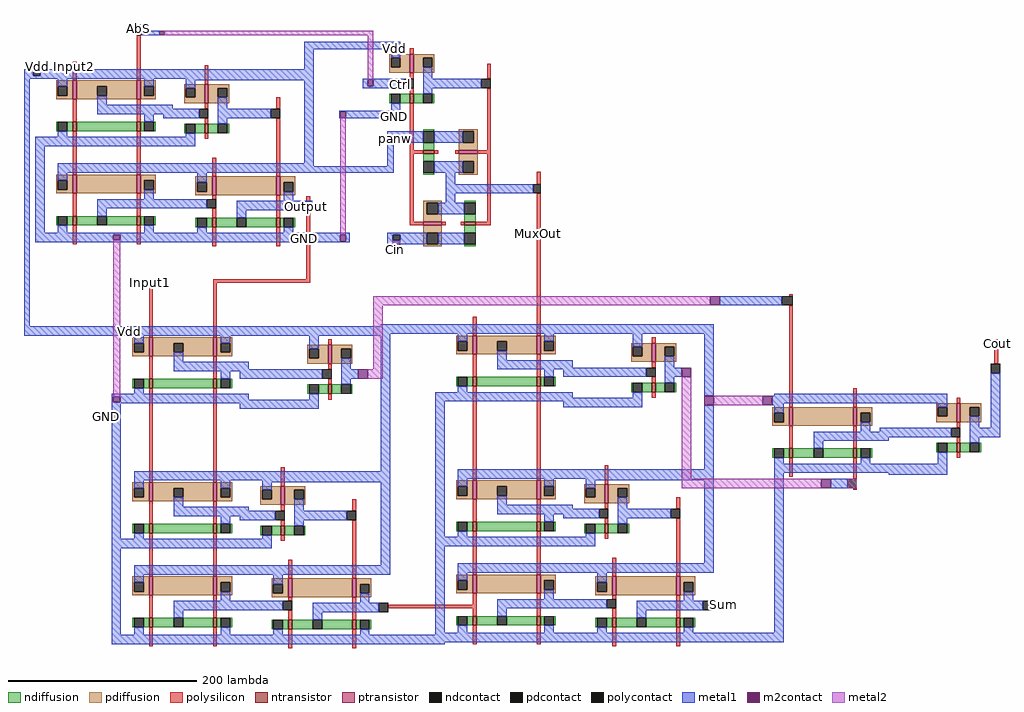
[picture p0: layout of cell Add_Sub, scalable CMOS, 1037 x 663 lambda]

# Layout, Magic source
magic
tech scmos
<< polysilicon >>
rect 122 1013 126 1020
rect 12 970 19 979
rect 54 960 58 980
rect 122 960 126 1008
rect 412 988 416 994
rect 194 956 198 976
rect 412 962 416 968
rect 494 962 498 978
rect 54 916 58 940
rect 122 916 126 940
rect 412 946 416 952
rect 194 930 198 936
rect 270 930 274 942
rect 194 914 198 920
rect 54 860 58 906
rect 122 860 126 906
rect 194 898 198 904
rect 202 858 206 878
rect 270 858 274 920
rect 412 886 416 936
rect 494 886 498 952
rect 412 882 426 886
rect 438 882 442 886
rect 460 882 464 886
rect 484 882 498 886
rect 54 816 58 840
rect 122 816 126 840
rect 202 834 206 838
rect 202 814 206 824
rect 270 814 274 838
rect 302 831 306 837
rect 54 786 58 806
rect 122 786 126 806
rect 202 784 206 804
rect 270 784 274 804
rect 302 749 306 824
rect 412 810 416 882
rect 494 810 498 882
rect 547 850 551 863
rect 412 806 426 810
rect 446 806 450 810
rect 466 806 470 810
rect 482 806 498 810
rect 394 777 402 790
rect 135 687 139 749
rect 203 745 306 749
rect 203 687 207 745
rect 479 689 483 709
rect 547 689 551 840
rect 815 731 819 733
rect 325 679 329 685
rect 135 643 139 667
rect 203 643 207 667
rect 669 681 673 687
rect 325 653 329 659
rect 479 645 483 669
rect 547 645 551 669
rect 669 655 673 661
rect 325 637 329 643
rect 88 600 96 606
rect 135 533 139 633
rect 203 533 207 633
rect 669 639 673 645
rect 325 621 329 627
rect 275 529 279 549
rect 479 535 483 635
rect 547 535 551 635
rect 669 623 673 629
rect 815 613 819 721
rect 1033 659 1037 685
rect 883 613 887 633
rect 993 617 997 623
rect 815 569 819 593
rect 883 569 887 593
rect 993 591 997 597
rect 993 575 997 581
rect 993 559 997 565
rect 135 489 139 513
rect 203 489 207 513
rect 619 531 623 551
rect 815 539 819 559
rect 883 537 887 559
rect 275 503 279 509
rect 351 503 355 515
rect 275 487 279 493
rect 135 433 139 479
rect 203 433 207 479
rect 275 471 279 477
rect 283 431 287 451
rect 351 431 355 493
rect 479 491 483 515
rect 547 491 551 515
rect 883 525 887 527
rect 619 505 623 511
rect 695 505 699 517
rect 619 489 623 495
rect 479 435 483 481
rect 547 435 551 481
rect 619 473 623 479
rect 135 389 139 413
rect 203 389 207 413
rect 627 433 631 453
rect 695 433 699 495
rect 283 407 287 411
rect 283 387 287 397
rect 351 387 355 411
rect 479 403 483 415
rect 389 399 483 403
rect 479 391 483 399
rect 547 391 551 415
rect 627 409 631 413
rect 135 359 139 379
rect 203 359 207 379
rect 627 389 631 399
rect 695 389 699 413
rect 733 401 747 405
rect 283 357 287 377
rect 351 357 355 377
rect 479 361 483 381
rect 547 361 551 381
rect 627 359 631 379
rect 695 359 699 379
<< ndiffusion >>
rect 390 936 392 946
rect 402 936 412 946
rect 416 936 426 946
rect 436 936 438 946
rect 36 906 38 916
rect 48 906 54 916
rect 58 906 122 916
rect 126 906 130 916
rect 140 906 142 916
rect 172 904 174 914
rect 184 904 194 914
rect 198 904 208 914
rect 218 904 220 914
rect 426 906 438 908
rect 426 886 438 894
rect 36 806 38 816
rect 48 806 54 816
rect 58 806 80 816
rect 90 806 122 816
rect 126 806 130 816
rect 140 806 142 816
rect 184 804 186 814
rect 196 804 202 814
rect 206 804 228 814
rect 238 804 270 814
rect 274 804 278 814
rect 288 804 290 814
rect 426 874 438 882
rect 426 860 438 862
rect 470 830 482 832
rect 470 810 482 818
rect 470 798 482 806
rect 470 784 482 786
rect 117 633 119 643
rect 129 633 135 643
rect 139 633 203 643
rect 207 633 211 643
rect 221 633 223 643
rect 303 627 305 637
rect 315 627 325 637
rect 329 627 339 637
rect 349 627 351 637
rect 461 635 463 645
rect 473 635 479 645
rect 483 635 547 645
rect 551 635 555 645
rect 565 635 567 645
rect 647 629 649 639
rect 659 629 669 639
rect 673 629 683 639
rect 693 629 695 639
rect 797 559 799 569
rect 809 559 815 569
rect 819 559 841 569
rect 851 559 883 569
rect 887 559 891 569
rect 901 559 903 569
rect 971 565 973 575
rect 983 565 993 575
rect 997 565 1007 575
rect 1017 565 1019 575
rect 117 479 119 489
rect 129 479 135 489
rect 139 479 203 489
rect 207 479 211 489
rect 221 479 223 489
rect 253 477 255 487
rect 265 477 275 487
rect 279 477 289 487
rect 299 477 301 487
rect 461 481 463 491
rect 473 481 479 491
rect 483 481 547 491
rect 551 481 555 491
rect 565 481 567 491
rect 597 479 599 489
rect 609 479 619 489
rect 623 479 633 489
rect 643 479 645 489
rect 117 379 119 389
rect 129 379 135 389
rect 139 379 161 389
rect 171 379 203 389
rect 207 379 211 389
rect 221 379 223 389
rect 265 377 267 387
rect 277 377 283 387
rect 287 377 309 387
rect 319 377 351 387
rect 355 377 359 387
rect 369 377 371 387
rect 461 381 463 391
rect 473 381 479 391
rect 483 381 505 391
rect 515 381 547 391
rect 551 381 555 391
rect 565 381 567 391
rect 609 379 611 389
rect 621 379 627 389
rect 631 379 653 389
rect 663 379 695 389
rect 699 379 703 389
rect 713 379 715 389
<< pdiffusion >>
rect 390 984 412 988
rect 36 954 54 960
rect 36 944 38 954
rect 48 944 54 954
rect 36 940 54 944
rect 58 954 122 960
rect 58 944 80 954
rect 90 944 122 954
rect 58 940 122 944
rect 126 954 142 960
rect 390 974 392 984
rect 402 974 412 984
rect 390 968 412 974
rect 416 984 438 988
rect 416 974 426 984
rect 436 974 438 984
rect 416 968 438 974
rect 126 944 130 954
rect 140 944 142 954
rect 126 940 142 944
rect 172 952 194 956
rect 172 942 174 952
rect 184 942 194 952
rect 172 936 194 942
rect 198 952 220 956
rect 198 942 208 952
rect 218 942 220 952
rect 198 936 220 942
rect 36 854 54 860
rect 36 844 38 854
rect 48 844 54 854
rect 36 840 54 844
rect 58 840 122 860
rect 126 854 142 860
rect 464 906 484 908
rect 464 894 468 906
rect 480 894 484 906
rect 464 886 484 894
rect 126 844 130 854
rect 140 844 142 854
rect 126 840 142 844
rect 184 852 202 858
rect 184 842 186 852
rect 196 842 202 852
rect 184 838 202 842
rect 206 838 270 858
rect 274 852 290 858
rect 274 842 278 852
rect 288 842 290 852
rect 274 838 290 842
rect 464 874 484 882
rect 464 862 468 874
rect 480 862 484 874
rect 464 860 484 862
rect 426 830 446 832
rect 426 818 430 830
rect 442 818 446 830
rect 426 810 446 818
rect 426 798 446 806
rect 426 786 430 798
rect 442 786 446 798
rect 426 784 446 786
rect 117 681 135 687
rect 117 671 119 681
rect 129 671 135 681
rect 117 667 135 671
rect 139 681 203 687
rect 139 671 161 681
rect 171 671 203 681
rect 139 667 203 671
rect 207 681 223 687
rect 207 671 211 681
rect 221 671 223 681
rect 461 683 479 689
rect 207 667 223 671
rect 303 675 325 679
rect 303 665 305 675
rect 315 665 325 675
rect 303 659 325 665
rect 329 675 351 679
rect 329 665 339 675
rect 349 665 351 675
rect 461 673 463 683
rect 473 673 479 683
rect 461 669 479 673
rect 483 683 547 689
rect 483 673 505 683
rect 515 673 547 683
rect 483 669 547 673
rect 551 683 567 689
rect 551 673 555 683
rect 565 673 567 683
rect 551 669 567 673
rect 647 677 669 681
rect 329 659 351 665
rect 647 667 649 677
rect 659 667 669 677
rect 647 661 669 667
rect 673 677 695 681
rect 673 667 683 677
rect 693 667 695 677
rect 673 661 695 667
rect 117 527 135 533
rect 117 517 119 527
rect 129 517 135 527
rect 117 513 135 517
rect 139 527 203 533
rect 139 517 161 527
rect 171 517 203 527
rect 139 513 203 517
rect 207 527 223 533
rect 971 613 993 617
rect 797 607 815 613
rect 797 597 799 607
rect 809 597 815 607
rect 797 593 815 597
rect 819 593 883 613
rect 887 607 903 613
rect 887 597 891 607
rect 901 597 903 607
rect 971 603 973 613
rect 983 603 993 613
rect 971 597 993 603
rect 997 613 1019 617
rect 997 603 1007 613
rect 1017 603 1019 613
rect 997 597 1019 603
rect 887 593 903 597
rect 461 529 479 535
rect 207 517 211 527
rect 221 517 223 527
rect 207 513 223 517
rect 253 525 275 529
rect 253 515 255 525
rect 265 515 275 525
rect 253 509 275 515
rect 279 525 301 529
rect 279 515 289 525
rect 299 515 301 525
rect 461 519 463 529
rect 473 519 479 529
rect 461 515 479 519
rect 483 529 547 535
rect 483 519 505 529
rect 515 519 547 529
rect 483 515 547 519
rect 551 529 567 535
rect 551 519 555 529
rect 565 519 567 529
rect 551 515 567 519
rect 597 527 619 531
rect 597 517 599 527
rect 609 517 619 527
rect 279 509 301 515
rect 117 427 135 433
rect 117 417 119 427
rect 129 417 135 427
rect 117 413 135 417
rect 139 413 203 433
rect 207 427 223 433
rect 597 511 619 517
rect 623 527 645 531
rect 623 517 633 527
rect 643 517 645 527
rect 623 511 645 517
rect 207 417 211 427
rect 221 417 223 427
rect 207 413 223 417
rect 265 425 283 431
rect 265 415 267 425
rect 277 415 283 425
rect 265 411 283 415
rect 287 411 351 431
rect 355 425 371 431
rect 355 415 359 425
rect 369 415 371 425
rect 461 429 479 435
rect 461 419 463 429
rect 473 419 479 429
rect 461 415 479 419
rect 483 415 547 435
rect 551 429 567 435
rect 551 419 555 429
rect 565 419 567 429
rect 551 415 567 419
rect 609 427 627 433
rect 609 417 611 427
rect 621 417 627 427
rect 355 411 371 415
rect 609 413 627 417
rect 631 413 695 433
rect 699 427 715 433
rect 699 417 703 427
rect 713 417 715 427
rect 699 413 715 417
<< metal1 >>
rect 127 1008 146 1013
rect 300 993 402 1001
rect 300 972 310 993
rect 392 984 402 993
rect 2 970 310 972
rect 2 965 12 970
rect 19 965 310 970
rect 2 962 310 965
rect 426 962 436 974
rect 2 699 8 962
rect 38 954 48 962
rect 130 954 140 962
rect 174 960 310 962
rect 174 952 184 960
rect 80 934 90 944
rect 80 930 160 934
rect 208 930 218 942
rect 80 924 188 930
rect 130 916 140 924
rect 150 920 188 924
rect 208 920 264 930
rect 208 914 218 920
rect 38 900 48 906
rect 174 900 184 904
rect 14 890 184 900
rect 14 798 24 890
rect 300 872 310 960
rect 362 961 406 962
rect 362 954 367 961
rect 373 954 406 961
rect 362 952 406 954
rect 426 952 488 962
rect 426 946 436 952
rect 392 928 402 936
rect 337 927 402 928
rect 337 921 338 927
rect 344 921 402 927
rect 337 920 402 921
rect 38 869 310 872
rect 388 894 426 906
rect 438 894 468 906
rect 388 869 395 894
rect 38 862 395 869
rect 438 862 468 874
rect 38 854 48 862
rect 130 834 140 844
rect 186 852 196 862
rect 80 824 196 834
rect 278 832 288 842
rect 450 850 460 862
rect 450 840 543 850
rect 228 831 308 832
rect 228 824 300 831
rect 307 824 308 831
rect 450 830 460 840
rect 80 816 90 824
rect 228 822 308 824
rect 228 814 238 822
rect 442 818 470 830
rect 38 798 48 806
rect 130 798 140 806
rect 186 798 196 804
rect 278 798 288 804
rect 14 796 348 798
rect 14 791 97 796
rect 104 791 338 796
rect 14 789 338 791
rect 344 789 348 796
rect 14 788 348 789
rect 388 796 430 798
rect 388 790 394 796
rect 402 790 430 796
rect 388 786 430 790
rect 442 786 470 798
rect 741 721 807 731
rect 381 699 735 701
rect 2 691 735 699
rect 2 689 391 691
rect 119 681 129 689
rect 211 681 221 689
rect 305 675 315 689
rect 161 661 171 671
rect 161 653 241 661
rect 339 653 349 665
rect 161 651 319 653
rect 211 643 221 651
rect 231 643 319 651
rect 339 643 357 653
rect 339 637 349 643
rect 119 627 129 633
rect 95 624 241 627
rect 95 618 97 624
rect 104 621 241 624
rect 305 621 315 627
rect 104 618 315 621
rect 95 617 315 618
rect 95 606 105 617
rect 231 611 315 617
rect 95 600 96 606
rect 103 600 105 606
rect 95 473 105 600
rect 381 545 391 689
rect 463 683 473 691
rect 555 683 565 691
rect 649 677 659 691
rect 505 663 515 673
rect 505 655 585 663
rect 683 655 693 667
rect 505 653 663 655
rect 555 645 565 653
rect 575 645 663 653
rect 683 645 701 655
rect 683 639 693 645
rect 463 629 473 635
rect 119 535 391 545
rect 119 527 129 535
rect 211 527 221 535
rect 255 533 391 535
rect 255 525 265 533
rect 161 507 171 517
rect 161 503 241 507
rect 289 503 299 515
rect 161 497 269 503
rect 211 489 221 497
rect 231 493 269 497
rect 289 493 345 503
rect 289 487 299 493
rect 119 473 129 479
rect 255 473 265 477
rect 95 463 265 473
rect 95 371 105 463
rect 381 445 391 533
rect 119 435 391 445
rect 439 623 585 629
rect 649 623 659 629
rect 439 619 659 623
rect 439 475 449 619
rect 575 613 659 619
rect 725 625 735 691
rect 799 625 983 627
rect 797 617 983 625
rect 797 615 809 617
rect 725 547 735 615
rect 799 607 809 615
rect 973 613 983 617
rect 891 587 901 597
rect 1007 591 1017 603
rect 1029 591 1039 649
rect 911 587 987 591
rect 841 581 987 587
rect 1007 581 1039 591
rect 841 577 921 581
rect 841 569 851 577
rect 1007 575 1017 581
rect 463 537 735 547
rect 463 529 473 537
rect 555 529 565 537
rect 599 535 735 537
rect 599 527 609 535
rect 505 509 515 519
rect 505 505 585 509
rect 633 505 643 517
rect 505 499 613 505
rect 555 491 565 499
rect 575 495 613 499
rect 633 495 689 505
rect 633 489 643 495
rect 463 475 473 481
rect 599 475 609 479
rect 439 465 609 475
rect 119 427 129 435
rect 211 407 221 417
rect 267 425 277 435
rect 161 397 277 407
rect 359 405 369 415
rect 161 389 171 397
rect 309 395 379 405
rect 309 387 319 395
rect 119 371 129 379
rect 211 371 221 379
rect 267 371 277 377
rect 359 371 369 377
rect 439 373 449 465
rect 725 447 735 535
rect 463 437 735 447
rect 799 553 809 559
rect 891 553 901 559
rect 973 553 983 565
rect 799 543 983 553
rect 463 429 473 437
rect 555 409 565 419
rect 611 427 621 437
rect 505 399 621 409
rect 703 407 713 417
rect 505 391 515 399
rect 653 397 723 407
rect 653 389 663 397
rect 463 373 473 381
rect 555 373 565 381
rect 611 373 621 379
rect 703 373 713 379
rect 799 373 809 543
rect 921 541 983 543
rect 859 527 877 537
rect 439 371 809 373
rect 95 363 809 371
rect 95 361 449 363
<< metal2 >>
rect 151 1008 373 1013
rect 367 961 373 1008
rect 338 796 344 921
rect 97 624 104 791
rect 373 721 731 731
rect 373 653 383 721
rect 367 643 383 653
rect 701 537 711 645
rect 735 615 787 625
rect 701 527 849 537
rect 877 527 887 537
<< ntransistor >>
rect 412 936 416 946
rect 54 906 58 916
rect 122 906 126 916
rect 194 904 198 914
rect 426 882 438 886
rect 54 806 58 816
rect 122 806 126 816
rect 202 804 206 814
rect 270 804 274 814
rect 470 806 482 810
rect 135 633 139 643
rect 203 633 207 643
rect 325 627 329 637
rect 479 635 483 645
rect 547 635 551 645
rect 669 629 673 639
rect 815 559 819 569
rect 883 559 887 569
rect 993 565 997 575
rect 135 479 139 489
rect 203 479 207 489
rect 275 477 279 487
rect 479 481 483 491
rect 547 481 551 491
rect 619 479 623 489
rect 135 379 139 389
rect 203 379 207 389
rect 283 377 287 387
rect 351 377 355 387
rect 479 381 483 391
rect 547 381 551 391
rect 627 379 631 389
rect 695 379 699 389
<< ptransistor >>
rect 54 940 58 960
rect 122 940 126 960
rect 412 968 416 988
rect 194 936 198 956
rect 54 840 58 860
rect 122 840 126 860
rect 464 882 484 886
rect 202 838 206 858
rect 270 838 274 858
rect 426 806 446 810
rect 135 667 139 687
rect 203 667 207 687
rect 325 659 329 679
rect 479 669 483 689
rect 547 669 551 689
rect 669 661 673 681
rect 135 513 139 533
rect 203 513 207 533
rect 815 593 819 613
rect 883 593 887 613
rect 993 597 997 617
rect 275 509 279 529
rect 479 515 483 535
rect 547 515 551 535
rect 135 413 139 433
rect 203 413 207 433
rect 619 511 623 531
rect 283 411 287 431
rect 351 411 355 431
rect 479 415 483 435
rect 547 415 551 435
rect 627 413 631 433
rect 695 413 699 433
<< polycontact >>
rect 122 1008 127 1013
rect 12 965 19 970
rect 406 952 416 962
rect 488 952 498 962
rect 188 920 198 930
rect 264 920 274 930
rect 196 824 206 834
rect 300 824 307 831
rect 543 840 551 850
rect 394 790 402 796
rect 807 721 819 731
rect 319 643 329 653
rect 663 645 673 655
rect 96 600 103 606
rect 1029 649 1039 659
rect 987 581 997 591
rect 269 493 279 503
rect 345 493 355 503
rect 877 527 887 537
rect 613 495 623 505
rect 689 495 699 505
rect 277 397 287 407
rect 379 395 389 405
rect 621 399 631 409
rect 723 397 733 407
<< ndcontact >>
rect 392 936 402 946
rect 426 936 436 946
rect 38 906 48 916
rect 130 906 140 916
rect 174 904 184 914
rect 208 904 218 914
rect 426 894 438 906
rect 38 806 48 816
rect 80 806 90 816
rect 130 806 140 816
rect 186 804 196 814
rect 228 804 238 814
rect 278 804 288 814
rect 426 862 438 874
rect 470 818 482 830
rect 470 786 482 798
rect 119 633 129 643
rect 211 633 221 643
rect 305 627 315 637
rect 339 627 349 637
rect 463 635 473 645
rect 555 635 565 645
rect 649 629 659 639
rect 683 629 693 639
rect 799 559 809 569
rect 841 559 851 569
rect 891 559 901 569
rect 973 565 983 575
rect 1007 565 1017 575
rect 119 479 129 489
rect 211 479 221 489
rect 255 477 265 487
rect 289 477 299 487
rect 463 481 473 491
rect 555 481 565 491
rect 599 479 609 489
rect 633 479 643 489
rect 119 379 129 389
rect 161 379 171 389
rect 211 379 221 389
rect 267 377 277 387
rect 309 377 319 387
rect 359 377 369 387
rect 463 381 473 391
rect 505 381 515 391
rect 555 381 565 391
rect 611 379 621 389
rect 653 379 663 389
rect 703 379 713 389
<< pdcontact >>
rect 38 944 48 954
rect 80 944 90 954
rect 392 974 402 984
rect 426 974 436 984
rect 130 944 140 954
rect 174 942 184 952
rect 208 942 218 952
rect 38 844 48 854
rect 468 894 480 906
rect 130 844 140 854
rect 186 842 196 852
rect 278 842 288 852
rect 468 862 480 874
rect 430 818 442 830
rect 430 786 442 798
rect 119 671 129 681
rect 161 671 171 681
rect 211 671 221 681
rect 305 665 315 675
rect 339 665 349 675
rect 463 673 473 683
rect 505 673 515 683
rect 555 673 565 683
rect 649 667 659 677
rect 683 667 693 677
rect 119 517 129 527
rect 161 517 171 527
rect 799 597 809 607
rect 891 597 901 607
rect 973 603 983 613
rect 1007 603 1017 613
rect 211 517 221 527
rect 255 515 265 525
rect 289 515 299 525
rect 463 519 473 529
rect 505 519 515 529
rect 555 519 565 529
rect 599 517 609 527
rect 119 417 129 427
rect 633 517 643 527
rect 211 417 221 427
rect 267 415 277 425
rect 359 415 369 425
rect 463 419 473 429
rect 555 419 565 429
rect 611 417 621 427
rect 703 417 713 427
<< m2contact >>
rect 146 1008 151 1013
rect 367 954 373 961
rect 338 921 344 927
rect 97 791 104 796
rect 338 789 344 796
rect 731 721 741 731
rect 357 643 367 653
rect 97 618 104 624
rect 701 645 711 655
rect 725 615 735 625
rect 787 615 797 625
rect 849 527 859 537
<< labels >>
rlabel metal1 114 693 114 693 1 Vdd
rlabel polysilicon 1036 681 1036 681 7 Cout
rlabel polysilicon 136 745 136 745 5 Input1
rlabel polysilicon 745 403 745 403 1 Sum
rlabel metal1 300 792 300 792 1 GND
rlabel polycontact 302 826 302 826 1 Output
rlabel polysilicon 56 975 56 975 5 Input2
rlabel metal1 396 994 396 994 5 Vdd
rlabel metal1 396 922 396 922 1 GND
rlabel metal1 402 956 402 956 1 Ctrl
rlabel polysilicon 124 1015 124 1015 5 AbS
rlabel metal1 397 898 397 898 1 panw
rlabel polysilicon 549 797 549 797 1 MuxOut
rlabel polysilicon 397 780 397 780 1 Cin
rlabel polysilicon 16 975 16 975 1 Vdd
rlabel polysilicon 90 603 90 603 1 GND
<< end >>
